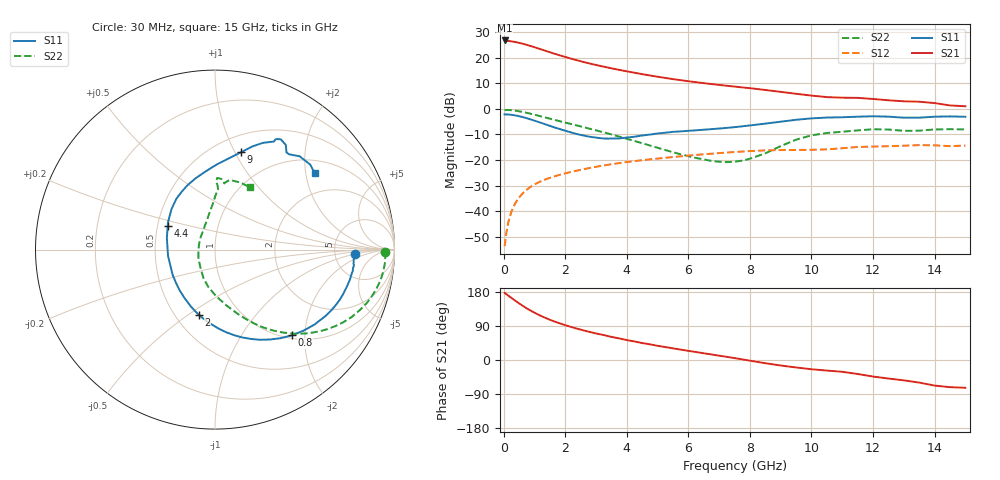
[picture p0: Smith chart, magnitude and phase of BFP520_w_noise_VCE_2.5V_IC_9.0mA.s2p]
! Infineon Technologies  Discrete & RF Semiconductors
! BFP520
! VCE =  2.5 V,  IC =  9.0 mA
! Common Emitter S-Parameters:  Oct 2015
# GHz  S  MA  R  50
!  f  S11  S21  S12  S22
! GHz  MAG  ANG  MAG  ANG  MAG  ANG  MAG  ANG
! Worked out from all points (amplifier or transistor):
!   109 points, 30 MHz to 15 GHz, reference 50 ohm
!   highest |S21| = 26.7 dB at 30 MHz (marker M1)
!   |S21| within 3 dB of that: start of sweep to 1.094 GHz
!   unconditionally stable (mu >= 1): start of sweep to 36.3 MHz; 3.571 GHz to end of sweep
!   at 450 MHz: K = 0.29, MSG = 30.7 dB, |S12| = -35.4 dB
!   at 4 GHz: K = 1.05, MAG = 16.3 dB, |S12| = -20.8 dB
!   at 15 GHz: K = 1.31, MAG = 4.3 dB, |S12| = -14.3 dB
!   lowest NFmin = 1.47 dB at 900 MHz
!   S11 on the Smith chart (normalised r, x): 30 MHz: 7.90, -1.04; 800 MHz: 1.06, -1.72; 2 GHz: 0.65, -0.55; 4.4 GHz: 0.57, +0.16; 9 GHz: 0.67, +1.06; 15 GHz: 1.35, +2.25
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0.03  0.7787 -1.9  21.52 177.2  0.0021 37.8  0.945 -0.8
0.25  0.7626 -15.9  20.68 163.9  0.0098 73.1  0.9393 -9.8
0.45  0.7287 -28.2  19.64 152.2  0.0169 72.0  0.9067 -17.6
0.6  0.694 -37.0  18.72 144.0  0.0219 69.5  0.8727 -22.9
0.8  0.6416 -48.1  17.29 133.8  0.028 66.0  0.8215 -29.5
0.9  0.6147 -53.4  16.61 129.3  0.0308 64.4  0.7949 -32.4
1.1  0.5619 -63.4  15.19 120.7  0.036 61.5  0.7417 -37.8
1.4  0.4881 -77.5  13.27 109.6  0.043 57.8  0.6655 -44.7
1.7  0.4248 -90.8  11.62 100.1  0.0492 54.7  0.5984 -50.6
2  0.3746 -103.9  10.26 91.9  0.0552 52.2  0.5391 -55.7
2.2  0.345 -112.8  9.469 86.9  0.059 50.6  0.5034 -58.8
2.6  0.3014 -130.6  8.175 78.0  0.0666 47.5  0.4383 -64.6
3  0.2752 -148.8  7.156 70.0  0.0741 44.5  0.3802 -70.5
3.5  0.2639 -172.1  6.161 60.9  0.0832 40.4  0.3166 -78.6
4.4  0.2953 153.2  4.862 46.4  0.0981 32.9  0.2222 -97.0
5.1  0.3351 135.0  4.135 36.1  0.1087 27.4  0.1672 -113.1
6  0.3726 119.7  3.453 24.1  0.1225 20.5  0.1194 -135.4
7.6  0.4458 95.0  2.676 3.7  0.1451 6.7  0.0949 156.8
9  0.5611 75.1  2.141 -14.5  0.1569 -6.8  0.1877 101.7
10.5  0.6761 62.6  1.691 -27.9  0.162 -15.6  0.3381 87.1
13  0.6725 53.7  1.401 -53.7  0.1911 -35.9  0.3726 81.9
15  0.6996 37.5  1.122 -73.3  0.1921 -51.8  0.3974 60.6
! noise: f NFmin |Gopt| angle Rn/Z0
0.45  1.49  0.33  1  0.29
0.9  1.47  0.29  6  0.31
1.9  1.67  0.27  15  0.26
2.4  1.67  0.23  26  0.27
3.5  1.61  0.21  49  0.26
